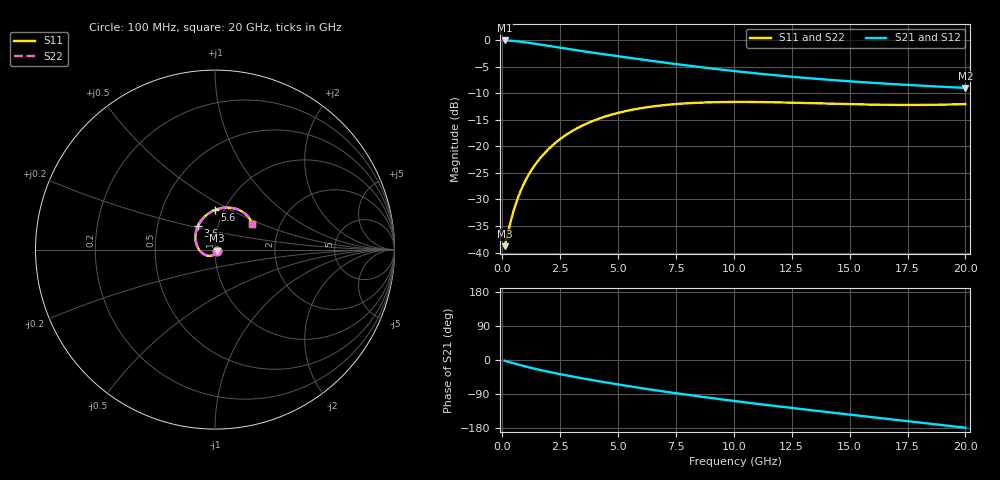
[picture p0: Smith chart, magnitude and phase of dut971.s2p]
! Touchstone file exported from HFSS 2024.1.0
!  File:  C:/UserFiles/LocalFiles/RDL_TSV_Batchsim/temp_RDL_TSV_971_1779971264.aedt
!  Generated:  08:41:34 PM May 28, 2026
!  Design:  RDL_TSV
!  Project:  temp_RDL_TSV_971_1779971264
!  Setup:  Setup1
!  Solution:  Sweep
! Variables:
!  dtsv = 12.83um
!  hbump = 3um
!  htsv = 92.08um
!  ldown = 367.13um
!  lrdl = 276.58um
!  p = 40
!  p1 = 52.42um
!  rhole = 10um
!  subl = 2207.71um
!  t = 450um
!  tdown = 3.83um
!  trdl = 3.95um
!  viad = 10um
!  wdown = 15.75um
!  wrdl = 28.87um
!  xbump = 18um
# GHz S MA R 50.000000
! Terminal data exported
! Port[1] = TM1_1_T1
! Port[2] = TM1_4_T1
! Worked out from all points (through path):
!   200 points, 100 MHz to 20 GHz, reference 50 ohm
!   highest |S21| = -0.10 dB at 100 MHz (marker M1); lowest = -9.0 dB at 20 GHz (marker M2)
!   group delay of S21, straight-line fit = 23.2 ps
!   lowest |S11| = -38.8 dB at 100 MHz (marker M3), VSWR 1.02, Z = 51 - j0.525 ohm
!   |S11| at or under -10 dB: start of sweep to end of sweep
!   |S22| runs from -38.8 to -11.7 dB; largest |S21 - S12| = 2.6e-14
!   S11 on the Smith chart (normalised r, x): 100 MHz: 1.02, -0.01; 3.6 GHz: 0.80, +0.22; 5.6 GHz: 0.91, +0.42; 20 GHz: 1.44, +0.44
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0.1  0.0115 -26.6  0.9887 -1.8  0.9887 -1.8  0.01149 -26.6
! Gamma 0 0 0 0
! Port Impedance 50 0 50 0
0.4  0.02107 -80.2  0.981 -7.1  0.981 -7.1  0.02107 -80.2
0.6  0.02949 -101.7  0.9726 -10.5  0.9726 -10.5  0.02948 -101.7
0.9  0.04295 -126.0  0.956 -15.5  0.956 -15.5  0.04295 -126.0
1.1  0.05219 -139.4  0.943 -18.6  0.943 -18.6  0.05219 -139.4
1.3  0.06154 -151.3  0.9291 -21.6  0.9291 -21.6  0.06155 -151.3
1.7  0.08034 -171.8  0.9 -27.2  0.9 -27.2  0.08037 -171.8
2.2  0.1035 167.3  0.8642 -33.8  0.8642 -33.8  0.1036 167.2
2.8  0.13 147.1  0.8242 -41.0  0.8242 -41.0  0.1301 147.0
3.5  0.1581 128.3  0.7819 -48.9  0.7819 -48.9  0.1583 128.3
3.6  0.1619 126.0  0.7762 -49.9  0.7762 -49.9  0.162 125.9
4.6  0.195 105.8  0.7224 -60.5  0.7224 -60.5  0.1952 105.8
5.6  0.2204 90.3  0.6736 -70.4  0.6736 -70.4  0.2206 90.3
6.8  0.2413 75.8  0.6208 -81.5  0.6208 -81.5  0.2416 75.8
8.4  0.2564 61.4  0.5601 -95.3  0.5601 -95.3  0.2566 61.4
10.1  0.2612 50.5  0.5074 -108.8  0.5074 -108.8  0.2614 50.5
11.7  0.2593 43.3  0.4675 -120.7  0.4675 -120.7  0.2596 43.3
13.4  0.2542 38.3  0.4337 -132.9  0.4337 -132.9  0.2544 38.3
15  0.2489 35.5  0.4082 -144.1  0.4082 -144.1  0.2491 35.6
16.7  0.2452 34.3  0.3863 -155.9  0.3863 -155.9  0.2454 34.4
18.3  0.245 34.3  0.3692 -166.9  0.3692 -166.9  0.2453 34.4
20  0.2493 34.8  0.3539 -178.7  0.3539 -178.7  0.2496 34.9
